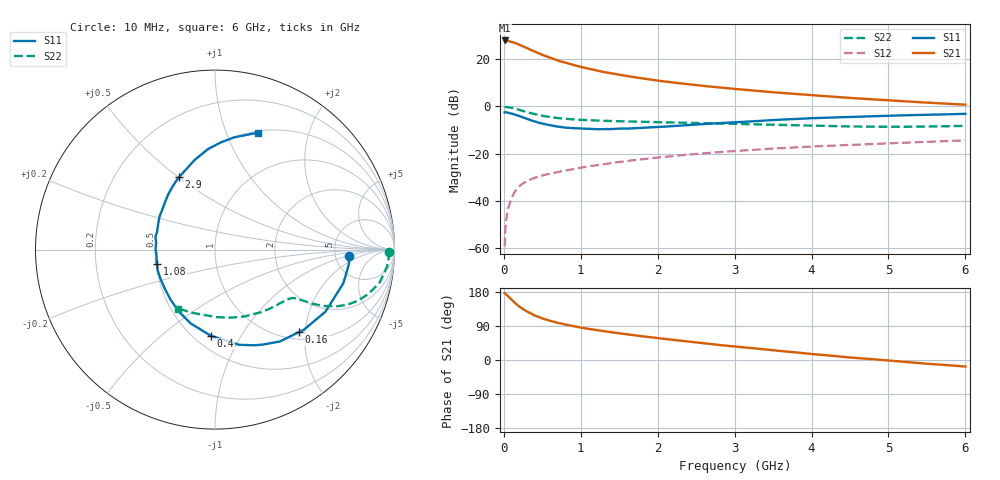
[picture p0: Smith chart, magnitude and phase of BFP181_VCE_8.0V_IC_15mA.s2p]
! Infineon Technologies  Discrete & RF Semiconductors
! BFP181
! VCE = 8.0 V,  IC =  15 mA
! Common Emitter S-Parameters:  Jan 2016
# GHz  S  MA  R  50
!  f  S11  S21  S12  S22
! GHz  MAG  ANG  MAG  ANG  MAG  ANG  MAG  ANG
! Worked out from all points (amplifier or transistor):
!   210 points, 10 MHz to 6 GHz, reference 50 ohm
!   highest |S21| = 27.9 dB at 10 MHz (marker M1)
!   |S21| within 3 dB of that: start of sweep to 285.2 MHz
!   unconditionally stable (mu >= 1): 1.108 GHz to end of sweep
!   at 185 MHz: K = 0.30, MSG = 30.3 dB, |S12| = -34.3 dB
!   at 1.52 GHz: K = 1.09, MAG = 16.5 dB, |S12| = -23.5 dB
!   at 6 GHz: K = 1.01, MAG = 6.9 dB, |S12| = -14.4 dB
!   S11 on the Smith chart (normalised r, x): 10 MHz: 6.67, -1.13; 160 MHz: 1.15, -1.86; 400 MHz: 0.60, -0.75; 1.08 GHz: 0.50, -0.09; 2.9 GHz: 0.50, +0.50; 6 GHz: 0.52, +1.29
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0.01  0.7458 -2.9  24.75 176.5  0.0011 81.3  0.972 -0.7
0.02  0.751 -6.0  24.59 175.3  0.0026 84.3  0.9701 -2.1
0.05  0.7392 -14.7  24.28 169.0  0.0063 83.5  0.9628 -5.8
0.1  0.7061 -29.3  23.13 158.9  0.0112 73.8  0.9352 -11.4
0.16  0.6563 -44.4  21.48 147.8  0.0172 69.2  0.8806 -16.8
0.2  0.6267 -54.8  20.32 141.0  0.0204 65.8  0.8437 -19.8
0.26  0.5762 -67.7  18.27 132.7  0.024 61.2  0.7868 -23.2
0.3  0.5471 -75.8  17.11 128.0  0.0262 59.7  0.7514 -24.8
0.4  0.4801 -92.9  14.42 117.4  0.0307 55.6  0.6821 -27.4
0.5  0.4329 -108.3  12.25 109.5  0.0345 53.2  0.6299 -28.8
0.6  0.3992 -120.4  10.69 103.3  0.0376 52.4  0.5919 -29.6
0.7  0.3731 -131.5  9.319 98.0  0.0408 52.6  0.5649 -30.1
0.8  0.3548 -141.9  8.368 93.4  0.0436 51.9  0.5447 -30.5
1.02  0.3382 -161.2  6.705 84.9  0.0508 52.3  0.5154 -31.6
1.08  0.3342 -165.8  6.376 82.8  0.053 52.1  0.5097 -32.0
1.5  0.3394 168.0  4.665 70.4  0.0664 51.7  0.4834 -35.6
2.02  0.3665 143.8  3.465 57.4  0.083 49.1  0.4627 -42.0
2.9  0.4503 116.3  2.417 37.6  0.1102 43.1  0.4277 -55.5
3.1  0.4684 111.4  2.262 33.7  0.116 41.6  0.4188 -59.0
4.1  0.5681 92.5  1.677 14.2  0.1435 33.4  0.386 -78.8
5.1  0.6393 79.2  1.308 -3.0  0.1674 25.8  0.369 -101.1
6  0.6935 70.0  1.085 -17.3  0.1906 18.8  0.3867 -121.9
